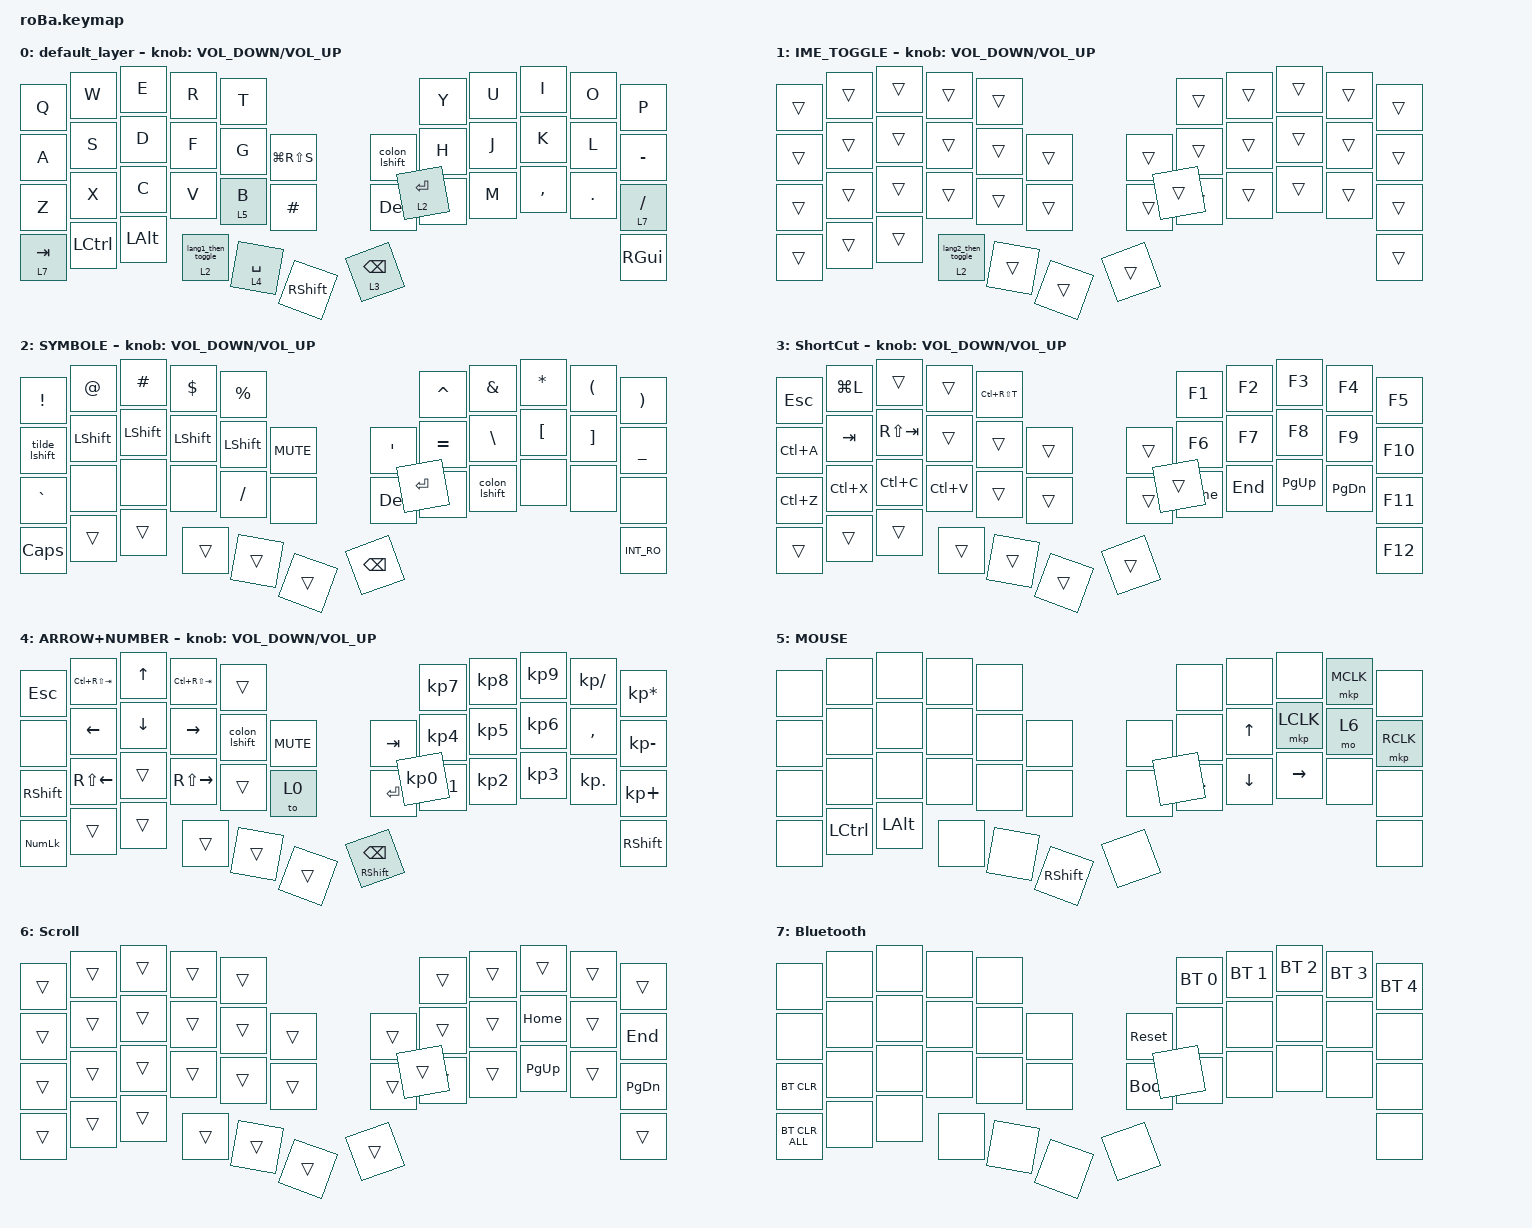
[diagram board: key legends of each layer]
#include <input/processors.dtsi>
#include <behaviors.dtsi>
#include <dt-bindings/zmk/bt.h>
#include <dt-bindings/zmk/keys.h>
#include <dt-bindings/zmk/pointing.h>

#define ZMK_POINTING_DEFAULT_SCRL_VAL 80
#define L_BASE 0
#define L_IME_TOGGLE 1
#define L_SHORTCUT 2
#define L_SYMBOL 3
#define L_NUMBER 4
#define L_MOUSE 5
#define L_SCROLL 6
#define L_BLUETOOTH 7

/ {
    mouse_temp_layer: mouse_temp_layer {
        compatible = "zmk,input-processor-temp-layer";
        #input-processor-cells = <2>;
        require-prior-idle-ms = <400>;
    };
};

#define POS_LCLK    19
#define POS_MCLK    20
#define POS_RCLK    21
#define POS_SCROLL  8

&mouse_temp_layer {
    excluded-positions = <
            POS_LCLK
            POS_MCLK
            POS_RCLK
            POS_SCROLL
    >;
};

&trackball_listener {
    status = "okay";
    device = <&trackball>;
    input-processors = <&mouse_temp_layer L_MOUSE 10000>;
};

&mkp_input_listener {
    // <&node  LAYER  TIMEOUT_MS>

    input-processors = <&mouse_temp_layer L_MOUSE 10000>;
};

&mt {
    flavor = "balanced";
    quick-tap-ms = <0>;
};

&trackball {
    // automouse-layer = <L_MOUSE>;

    scroll-layers = <L_SCROLL>;

    arrows {
        layers = <L_NUMBER>;
        bindings =
            <&kp RIGHT_ARROW>,
            <&kp LEFT_ARROW>,
            <&kp UP_ARROW>,
            <&kp DOWN_ARROW>;

        tick = <10>;
        wait-ms = <5>;
        tap-ms = <5>;
    };
};

/ {
    combos {
        compatible = "zmk,combos";

        BackSpace {
            bindings = <&kp BACKSPACE>;
            key-positions = <8 9>;
        };

        TAB0 {
            bindings = <&kp TAB>;
            key-positions = <10 11>;
        };

        ESC_COMBO {
            bindings = <&kp ESCAPE>;
            key-positions = <0 1>;
        };

        Number_Layer {
            bindings = <&to 4>;
            key-positions = <40 28>;
        };

        parenthes {
            bindings = <&parenthes>;
            key-positions = <20 21>;
        };

        F10_combo {
            bindings = <&kp F10>;
            key-positions = <18 19>;
        };

        KANA {
            bindings = <&kp LANGUAGE_1>;
            key-positions = <14 13>;
        };

        ENG {
            bindings = <&kp LANGUAGE_2>;
            key-positions = <13 12>;
        };
    };

    macros {
        to_layer_0: to_layer_0 {
            compatible = "zmk,behavior-macro-one-param";
            #binding-cells = <1>;
            bindings = <&to 0 &macro_param_1to1 &kp MACRO_PLACEHOLDER>;
            label = "TO_LAYER_0";
        };

        lang1_then_toggle: lang1_then_toggle {
            compatible = "zmk,behavior-macro";
            #binding-cells = <0>;
            wait-ms = <40>;
            tap-ms = <40>;
            bindings = <&macro_tap>, <&kp LANGUAGE_1>, <&macro_tap>, <&tog 1>;

            label = "LANG1_THEN_TOGGLE";
        };

        lang2_then_toggle: lang2_then_toggle {
            compatible = "zmk,behavior-macro";
            #binding-cells = <0>;
            wait-ms = <40>;
            tap-ms = <40>;
            bindings = <&macro_tap>, <&kp LANGUAGE_2>, <&macro_tap>, <&tog 1>;

            label = "LANG2_THEN_TOGGLE";
        };

        colon_lshift: colon_lshift {
            compatible = "zmk,behavior-macro";
            #binding-cells = <0>;
            wait-ms = <30>;
            tap-ms = <30>;
            bindings =
                <&macro_press>,
                <&kp LEFT_SHIFT>,
                <&macro_tap>,
                <&kp SEMI>,
                <&macro_release>,
                <&kp LEFT_SHIFT>;

            label = "COLON_LSHIFT";
        };

        tilde_lshift: tilde_lshift {
            compatible = "zmk,behavior-macro";
            #binding-cells = <0>;
            wait-ms = <30>;
            tap-ms = <30>;
            bindings =
                <&macro_press>,
                <&kp LEFT_SHIFT>,
                <&macro_tap>,
                <&kp GRAVE>,
                <&macro_release>,
                <&kp LEFT_SHIFT>;

            label = "TILDE_LSHIFT";
        };

        parenthes: parenthes {
            compatible = "zmk,behavior-macro";
            #binding-cells = <0>;
            bindings =
                <&kp LANG1>,
                <&macro_tap>,
                <&kp LEFT_PARENTHESIS>,
                <&macro_tap>,
                <&kp RIGHT_PARENTHESIS>,
                <&macro_tap>,
                <&kp F10>,
                <&macro_tap>,
                <&kp ENTER>,
                <&macro_tap>,
                <&kp LEFT_ARROW>,
                <&macro_tap>;

            label = "PARENTHES";
        };
    };

    behaviors {
        ime_lang1_symbol: ime_lang1_symbol {
            compatible = "zmk,behavior-hold-tap";
            label = "IME_LANG1_SYMBOL";
            bindings = <&mo>, <&lang1_then_toggle>;

            #binding-cells = <2>;
            flavor = "tap-preferred";
            tapping-term-ms = <200>;
            quick-tap-ms = <0>;
        };

        ime_lang2_symbol: ime_lang2_symbol {
            compatible = "zmk,behavior-hold-tap";
            label = "IME_LANG2_SYMBOL";
            bindings = <&mo>, <&lang2_then_toggle>;

            #binding-cells = <2>;
            flavor = "tap-preferred";
            tapping-term-ms = <200>;
            quick-tap-ms = <0>;
        };

        lt_to_layer_0: lt_to_layer_0 {
            compatible = "zmk,behavior-hold-tap";
            label = "LAYER_TAP_TO_0";
            bindings = <&mo>, <&to_layer_0>;

            #binding-cells = <2>;
            tapping-term-ms = <200>;
        };

        encoder_msc_down_up: encoder_msc_down_up {
            compatible = "zmk,behavior-sensor-rotate";
            label = "ENCODER_MSC_DOWN_UP";
            #sensor-binding-cells = <0>;
            bindings = <&msc SCRL_DOWN>, <&msc SCRL_UP>;

            tap-ms = <20>;
        };
    };

    keymap {
        compatible = "zmk,keymap";

        default_layer {
            bindings = <
&kp Q      &kp W      &kp E         &kp R                  &kp T                                              &kp Y        &kp U  &kp I      &kp O       &kp P
&kp A      &kp S      &kp D         &kp F                  &kp G        &kp LG(RS(S))        &colon_lshift    &kp H        &kp J  &kp K      &kp L       &kp MINUS
&kp Z      &kp X      &kp C         &kp V                  &lt 5 B      &kp HASH             &kp DELETE       &kp N        &kp M  &kp COMMA  &kp PERIOD  &lt 7 SLASH
&lt 7 TAB  &kp LCTRL  &kp LEFT_ALT  &ime_lang1_symbol 2 0  &lt 4 SPACE  &kp RIGHT_SHIFT      &lt 3 BACKSPACE  &lt 2 ENTER                                &kp RIGHT_GUI
            >;

            sensor-bindings = <&inc_dec_kp C_VOLUME_DOWN C_VOLUME_UP>;
        };

        IME_TOGGLE {
            bindings = <
&trans  &trans  &trans  &trans                 &trans                      &trans  &trans  &trans  &trans  &trans
&trans  &trans  &trans  &trans                 &trans  &trans      &trans  &trans  &trans  &trans  &trans  &trans
&trans  &trans  &trans  &trans                 &trans  &trans      &trans  &trans  &trans  &trans  &trans  &trans
&trans  &trans  &trans  &ime_lang2_symbol 2 0  &trans  &trans      &trans  &trans                          &trans
            >;

            sensor-bindings = <&inc_dec_kp C_VOLUME_DOWN C_VOLUME_UP>;
        };

        SYMBOLE {
            bindings = <
&kp EXCLAMATION  &kp AT_SIGN     &kp HASH        &kp DOLLAR      &kp PERCENT                                    &kp CARET  &kp AMPERSAND  &kp ASTERISK      &kp LEFT_PARENTHESIS  &kp RIGHT_PARENTHESIS
&tilde_lshift    &kp LEFT_SHIFT  &kp LEFT_SHIFT  &kp LEFT_SHIFT  &kp LEFT_SHIFT  &kp C_MUTE      &kp APOS       &kp EQUAL  &kp BACKSLASH  &kp LEFT_BRACKET  &kp RIGHT_BRACKET     &kp UNDERSCORE
&kp GRAVE        &none           &none           &none           &kp SLASH       &none           &kp DELETE     &kp SEMI   &colon_lshift  &none             &none                 &none
&kp CAPSLOCK     &trans          &trans          &trans          &trans          &trans          &kp BACKSPACE  &kp RET                                                           &kp INT_RO
            >;

            sensor-bindings = <&inc_dec_kp C_VOLUME_DOWN C_VOLUME_UP>;
        };

        ShortCut {
            bindings = <
&kp ESCAPE  &kp LG(L)  &trans       &trans     &kp LC(RS(T))                      &kp F1    &kp F2   &kp F3       &kp F4         &kp F5
&kp LC(A)   &kp TAB    &kp RS(TAB)  &trans     &trans         &trans      &trans  &kp F6    &kp F7   &kp F8       &kp F9         &kp F10
&kp LC(Z)   &kp LC(X)  &kp LC(C)    &kp LC(V)  &trans         &trans      &trans  &kp HOME  &kp END  &kp PAGE_UP  &kp PAGE_DOWN  &kp F11
&trans      &trans     &trans       &trans     &trans         &trans      &trans  &trans                                         &kp F12
            >;

            sensor-bindings = <&inc_dec_kp C_VOLUME_DOWN C_VOLUME_UP>;
        };

        ARROW+NUMBER {
            bindings = <
&kp ESCAPE       &kp LC(RS(TAB))  &kp UP_ARROW    &kp LC(RS(TAB))  &trans                                                    &kp KP_NUMBER_7  &kp KP_NUMBER_8  &kp KP_NUMBER_9  &kp KP_SLASH  &kp KP_ASTERISK
&none            &kp LEFT_ARROW   &kp DOWN_ARROW  &kp RIGHT_ARROW  &colon_lshift  &kp C_MUTE      &kp TAB                    &kp KP_NUMBER_4  &kp KP_NUMBER_5  &kp KP_NUMBER_6  &kp COMMA     &kp KP_MINUS
&kp RIGHT_SHIFT  &kp RS(LEFT)     &trans          &kp RS(RIGHT)    &trans         &to 0           &kp ENTER                  &kp KP_NUMBER_1  &kp KP_NUMBER_2  &kp KP_NUMBER_3  &kp KP_DOT    &kp KP_PLUS
&kp KP_NUMLOCK   &trans           &trans          &trans           &trans         &trans          &mt RIGHT_SHIFT BACKSPACE  &kp KP_NUMBER_0                                                  &kp RIGHT_SHIFT
            >;

            sensor-bindings = <&inc_dec_kp C_VOLUME_DOWN C_VOLUME_UP>;
        };

        MOUSE {
            bindings = <
&none  &none      &none         &none  &none                              &none           &none           &none            &mkp MCLK  &none
&none  &none      &none         &none  &none  &none                &none  &none           &kp UP_ARROW    &mkp LCLK        &mo 6      &mkp RCLK
&none  &none      &none         &none  &none  &none                &none  &kp LEFT_ARROW  &kp DOWN_ARROW  &kp RIGHT_ARROW  &none      &none
&none  &kp LCTRL  &kp LEFT_ALT  &none  &none  &kp RIGHT_SHIFT      &none  &none                                                       &none
            >;
        };

        Scroll {
            bindings = <
&trans  &trans  &trans  &trans  &trans                      &trans  &trans  &trans       &trans  &trans
&trans  &trans  &trans  &trans  &trans  &trans      &trans  &trans  &trans  &kp HOME     &trans  &kp END
&trans  &trans  &trans  &trans  &trans  &trans      &trans  &trans  &trans  &kp PAGE_UP  &trans  &kp PAGE_DOWN
&trans  &trans  &trans  &trans  &trans  &trans      &trans  &trans                               &trans
            >;
        };

        Bluetooth {
            bindings = <
&none           &none  &none  &none  &none                          &bt BT_SEL 0  &bt BT_SEL 1  &bt BT_SEL 2  &bt BT_SEL 3  &bt BT_SEL 4
&none           &none  &none  &none  &none  &none      &sys_reset   &none         &none         &none         &none         &none
&bt BT_CLR      &none  &none  &none  &none  &none      &bootloader  &none         &none         &none         &none         &none
&bt BT_CLR_ALL  &none  &none  &none  &none  &none      &none        &none                                                   &none
            >;
        };
    };
};
